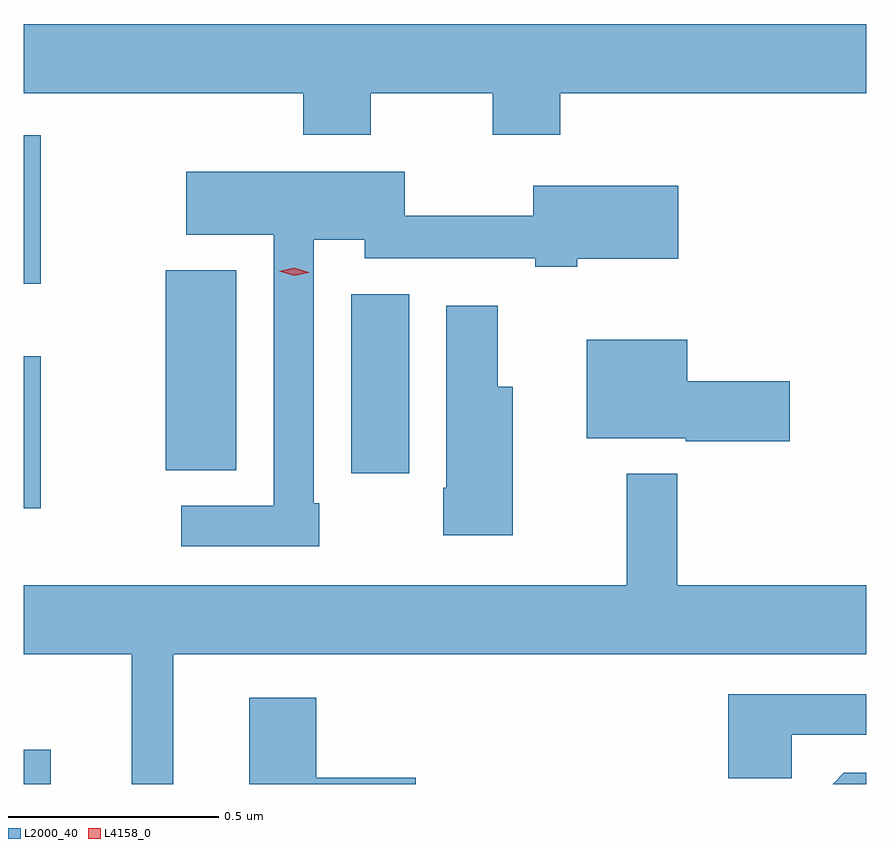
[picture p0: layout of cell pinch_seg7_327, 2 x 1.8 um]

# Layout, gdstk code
import gdstk
lib = gdstk.Library(unit=1e-6, precision=1e-09)
def R(c, l, rs):  # rectangles x0, y0, x1, y1
    for r in rs: c.add(gdstk.rectangle(r[:2], r[2:], *l))
def P(c, l, *ps):  # polygons
    for p in ps: c.add(gdstk.Polygon(p, *l))
L2000_40 = (2000, 40)
L4158_0 = (4158, 0)

pinch_seg7_327 = lib.new_cell('pinch_seg7_327')
R(pinch_seg7_327, L2000_40, [(539.317,1049.592,539.381,1049.673), (539.317,1050.246,539.358,1050.607), (540.095,1050.33,540.232,1050.755), (539.654,1050.337,539.821,1050.811), (539.317,1050.779,539.358,1051.132)])
P(pinch_seg7_327, L2000_40, [(540.141,1051.232),(540.43,1051.232),(540.43,1051.133),(540.59,1051.133),(540.59,1051.232),(541.317,1051.232),(541.317,1051.396),(539.317,1051.396),(539.317,1051.232),(539.981,1051.232),(539.981,1051.133),(540.141,1051.133)],
  [(540.019,1050.259),(540.006,1050.259),(540.006,1050.884),(540.126,1050.884),(540.126,1050.84),(540.531,1050.84),(540.531,1050.82),(540.631,1050.82),(540.631,1050.839),(540.871,1050.839),(540.871,1051.012),(540.527,1051.012),(540.527,1050.941),(540.222,1050.941),(540.222,1051.045),(539.703,1051.045),(539.703,1050.896),(539.91,1050.896),(539.91,1050.252),(539.691,1050.252),(539.691,1050.156),(540.019,1050.156)],
  [(540.478,1050.535),(540.442,1050.535),(540.442,1050.727),(540.32,1050.727),(540.32,1050.295),(540.313,1050.295),(540.313,1050.183),(540.478,1050.183)],
  [(541.135,1050.548),(540.892,1050.548),(540.892,1050.646),(540.653,1050.646),(540.653,1050.413),(540.888,1050.413),(540.888,1050.406),(541.135,1050.406)],
  [(539.672,1049.9),(541.317,1049.9),(541.317,1050.064),(540.868,1050.064),(540.868,1050.328),(540.748,1050.328),(540.748,1050.064),(539.317,1050.064),(539.317,1049.9),(539.573,1049.9),(539.573,1049.592),(539.672,1049.592)],
  [(541.14,1049.709),(541.317,1049.709),(541.317,1049.805),(540.989,1049.805),(540.989,1049.606),(541.14,1049.606)],
  [(540.247,1049.607),(540.011,1049.607),(540.011,1049.797),(539.852,1049.797),(539.852,1049.592),(540.247,1049.592)],
  [(541.317,1049.619),(541.264,1049.619),(541.237,1049.592),(541.317,1049.592)])
P(pinch_seg7_327, L4158_0, [(539.959,1050.798),(539.924,1050.809),(539.924,1050.809),(539.924,1050.809),(539.959,1050.818),(539.994,1050.807),(539.994,1050.806),(539.994,1050.806)])

lib.write_gds('pinch_seg7_327.gds')
